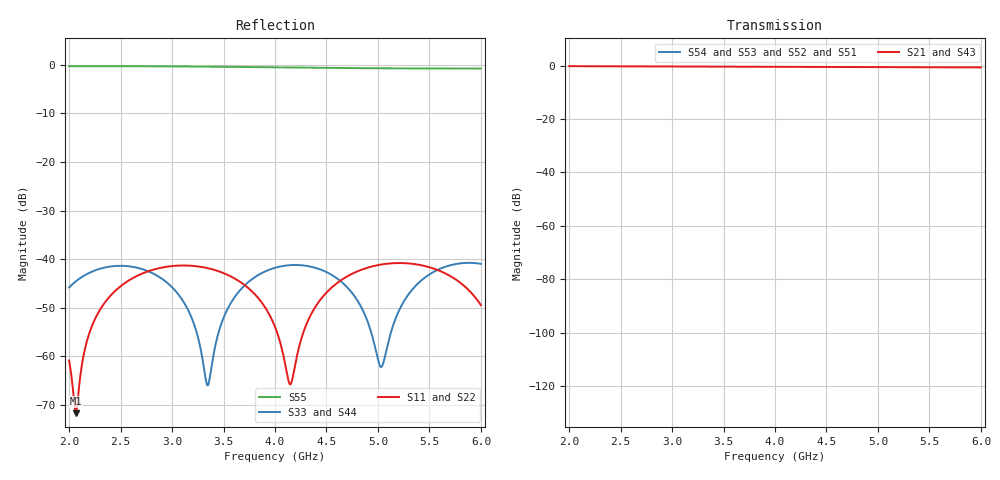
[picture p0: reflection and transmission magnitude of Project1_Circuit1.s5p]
! Touchstone file from project Project1
! Exported from Circuit Design 2017.0.0
! Variables:
!  $losstan = 0
!  line = 49.5321mm
!  thru = 40mm
!  width = 3.01746mm
# GHZ S MA R 50.000000
! Modal data exported
! Port[1] = Port1
! Port[2] = Port2
! Port[3] = Port3
! Port[4] = Port4
! Port[5] = Port5
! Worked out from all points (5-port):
!   1000 points, 2 GHz to 6 GHz, reference 50 ohm
!   strongest paths, dB at 2 GHz, 3.001 GHz, 4.002 GHz, 5.003 GHz, 6 GHz:
!     S21: -0.2, -0.4, -0.5, -0.6, -0.7
!     S43: -0.3, -0.5, -0.6, -0.7, -0.9
!     S54: -, -, -, -, -
!     S53: -, -, -, -, -
!     S52: -, -, -, -, -
!     S51: -, -, -, -, -
!   lowest |S11| = -71.8 dB at 2.064 GHz (marker M1), VSWR 1.00, Z = 50 + j0.0257 ohm
!   |S11| at or under -10 dB: start of sweep to end of sweep
